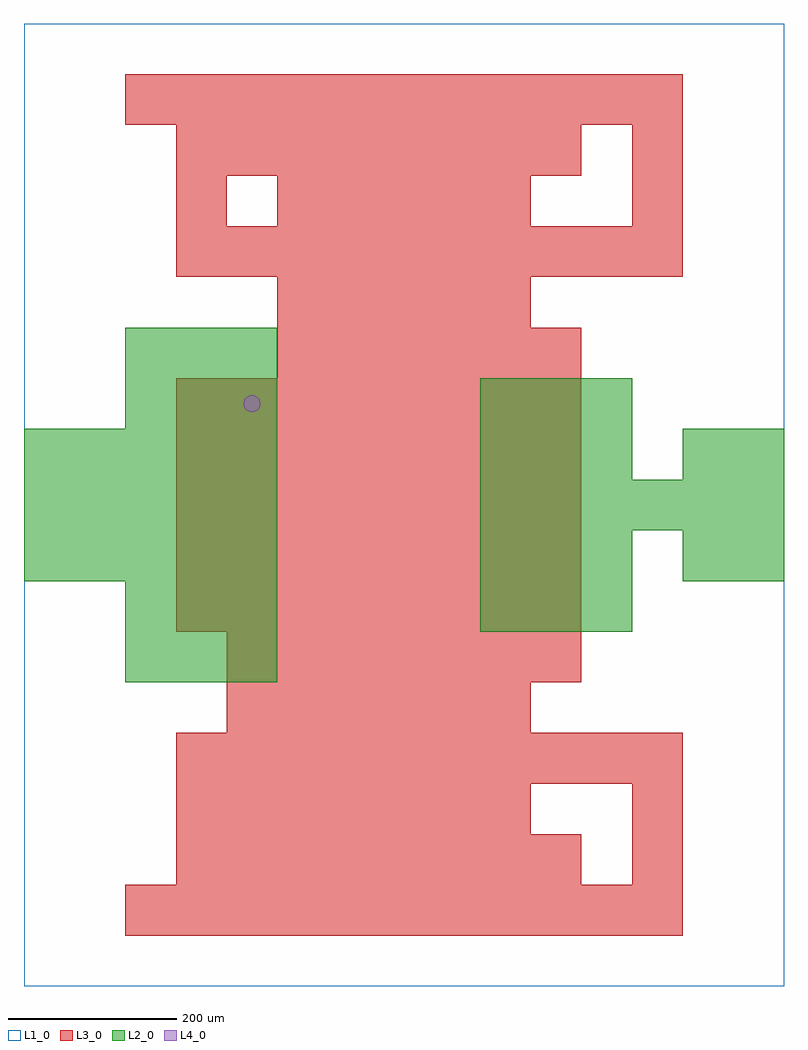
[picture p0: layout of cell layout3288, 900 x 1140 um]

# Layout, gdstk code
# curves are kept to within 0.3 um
import gdstk
lib = gdstk.Library(unit=1e-6, precision=1e-09)
def R(c, l, rs):  # rectangles x0, y0, x1, y1
    for r in rs: c.add(gdstk.rectangle(r[:2], r[2:], *l))
def A(c, l, x, y, w, h, nx, ny, dx, dy):  # array of equal rectangles
    R(c, l, [(x+i*dx, y+j*dy, x+i*dx+w, y+j*dy+h) for i in range(nx) for j in range(ny)])
def P(c, l, *ps):  # polygons
    for p in ps: c.add(gdstk.Polygon(p, *l))
L1_0 = (1, 0)
L2_0 = (2, 0)
L3_0 = (3, 0)
L4_0 = (4, 0)

layout3288 = lib.new_cell('layout3288')
R(layout3288, L1_0, [(0,0,900,1140)])
A(layout3288, L2_0, 120, 360, 60, 60, 3, 2, 60, 60)
A(layout3288, L2_0, 540, 420, 60, 60, 3, 2, 60, 60)
A(layout3288, L2_0, 0, 480, 60, 60, 5, 3, 60, 60)
A(layout3288, L2_0, 540, 540, 60, 60, 6, 1, 60, 0)
A(layout3288, L2_0, 540, 600, 60, 60, 3, 2, 60, 60)
A(layout3288, L2_0, 120, 660, 60, 60, 3, 2, 60, 60)
R(layout3288, L2_0, [(780,480,840,540), (840,480,900,540), (780,600,840,660), (840,600,900,660)])
A(layout3288, L3_0, 120, 60, 60, 60, 11, 2, 60, 960)
A(layout3288, L3_0, 180, 120, 60, 60, 8, 2, 60, 300)
A(layout3288, L3_0, 180, 180, 60, 60, 7, 1, 60, 0)
A(layout3288, L3_0, 180, 240, 60, 60, 10, 2, 60, 600)
A(layout3288, L3_0, 240, 300, 60, 60, 6, 1, 60, 0)
A(layout3288, L3_0, 240, 360, 60, 60, 7, 1, 60, 0)
A(layout3288, L3_0, 180, 480, 60, 60, 8, 4, 60, 60)
A(layout3288, L3_0, 300, 720, 60, 60, 6, 1, 60, 0)
A(layout3288, L3_0, 300, 780, 60, 60, 5, 2, 60, 120)
A(layout3288, L3_0, 180, 960, 60, 60, 8, 1, 60, 0)
R(layout3288, L3_0, [(720,120,780,180), (720,180,780,240), (180,900,240,960), (720,900,780,960), (720,960,780,1020)])
P(layout3288, L4_0, [(280,690),(279.239,693.827),(277.071,697.071),(273.827,699.239),(270,700),(266.173,699.239),(262.929,697.071),(260.761,693.827),(260,690),(260.761,686.173),(262.929,682.929),(266.173,680.761),(270,680),(273.827,680.761),(277.071,682.929),(279.239,686.173)])

lib.write_gds('layout3288.gds')
